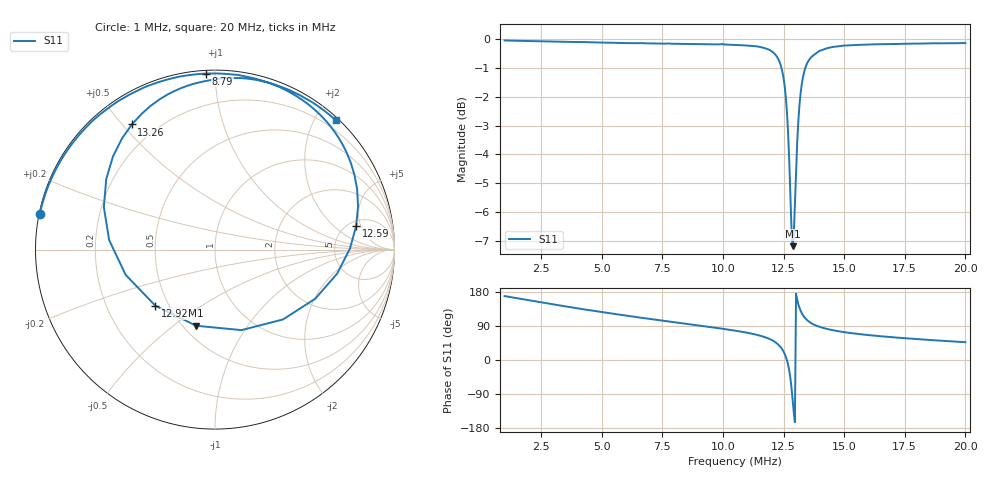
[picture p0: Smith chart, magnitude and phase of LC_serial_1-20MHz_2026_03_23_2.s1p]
# HZ S RI R 50
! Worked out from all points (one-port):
!   401 points, 1 MHz to 20 MHz, reference 50 ohm
!   lowest |S11| = -7.2 dB at 12.88 MHz (marker M1), VSWR 2.55, Z = 28.9 - j30.3 ohm
!   |S11| at or under -10 dB: nowhere
!   S11 on the Smith chart (normalised r, x): 1 MHz: 0.00, +0.10; 8.79 MHz: 0.02, +0.95; 12.59 MHz: 5.76, +4.21; 12.92 MHz: 0.42, -0.33; 13.26 MHz: 0.11, +0.53; 20 MHz: 0.05, +2.30
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1000000  -0.9766 0.1964
3375000  -0.7909 0.5971
5750000  -0.4865 0.8579
8125000  -0.1459 0.9718
8790000  -0.0495 0.9807
1.05e7  0.2113 0.9555
1.145e7  0.4008 0.8855
1.202e7  0.5802 0.7565
1.221e7  0.6647 0.6589
1.23525e7  0.735 0.5375
1.2495e7  0.7917 0.337
1.259e7  0.7868 0.1327
1.2685e7  0.6806 -0.1338
1.27325e7  0.5589 -0.2734
1.28275e7  0.1476 -0.4486
1.2875e7  -0.1046 -0.4244
1.29225e7  -0.3323 -0.3128
1.30175e7  -0.5898 0.0532
1.3065e7  -0.6193 0.2366
1.316e7  -0.5678 0.5207
1.3255e7  -0.4632 0.6971
1.335e7  -0.3577 0.8016
1.34925e7  -0.2242 0.8843
1.392e7  0.016 0.9511
1.449e7  0.1824 0.9524
1.525e7  0.3138 0.9256
1.7625e7  0.5371 0.8237
2e7  0.6722 0.7208
